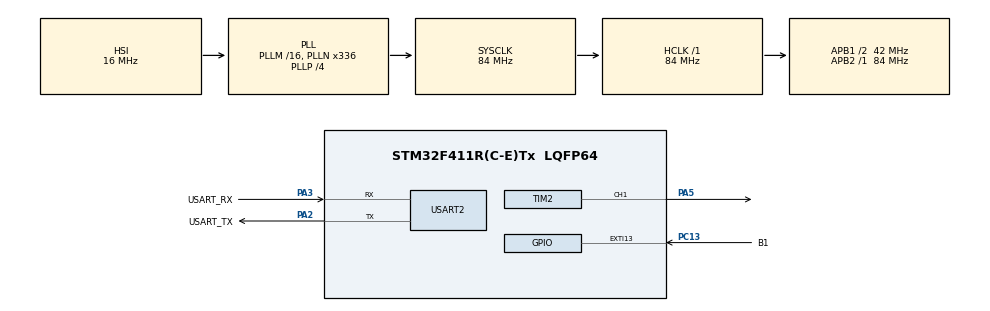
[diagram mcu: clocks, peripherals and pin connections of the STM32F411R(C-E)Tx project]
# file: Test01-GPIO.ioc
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Mcu.Family=STM32F4
Mcu.Name=STM32F411R(C-E)Tx
Mcu.Package=LQFP64
NVIC.EXTI15_10_IRQn=true\:0\:0\:false\:false\:true\:true\:true\:true
NVIC.PriorityGroup=NVIC_PRIORITYGROUP_0
NVIC.TIM3_IRQn=true\:0\:0\:false\:false\:true\:true\:true\:true
PA13.GPIO_Label=TMS
PA13.Mode=Serial_Wire
PA13.Signal=SYS_JTMS-SWDIO
PA14.GPIO_Label=TCK
PA14.Mode=Serial_Wire
PA14.Signal=SYS_JTCK-SWCLK
PA2.GPIO_Label=USART_TX
PA2.Mode=Asynchronous
PA2.Signal=USART2_TX
PA3.GPIO_Label=USART_RX
PA3.Mode=Asynchronous
PA3.Signal=USART2_RX
PA5.Signal=S_TIM2_CH1_ETR
PB3.GPIO_Label=SWO
PB3.Signal=SYS_JTDO-SWO
PC13-ANTI_TAMP.GPIO_Label=B1
PC13-ANTI_TAMP.GPIO_ModeDefaultEXTI=GPIO_MODE_IT_FALLING
PC13-ANTI_TAMP.Signal=GPXTI13
PC14-OSC32_IN.Mode=LSE-External-Oscillator
PC14-OSC32_IN.Signal=RCC_OSC32_IN
PC15-OSC32_OUT.Mode=LSE-External-Oscillator
PC15-OSC32_OUT.Signal=RCC_OSC32_OUT
PH0\ -\ OSC_IN.Mode=HSE-External-Clock-Source
PH0\ -\ OSC_IN.Signal=RCC_OSC_IN
PH1\ -\ OSC_OUT.Mode=HSE-External-Clock-Source
PH1\ -\ OSC_OUT.Signal=RCC_OSC_OUT
ProjectManager.HeapSize=0x200
ProjectManager.StackSize=0x400
ProjectManager.TargetToolchain=STM32CubeIDE
RCC.48MHZClocksFreq_Value=84000000
RCC.AHBFreq_Value=84000000
RCC.APB1CLKDivider=RCC_HCLK_DIV2
RCC.APB1Freq_Value=42000000
RCC.APB1TimFreq_Value=84000000
RCC.APB2Freq_Value=84000000
RCC.APB2TimFreq_Value=84000000
RCC.CortexFreq_Value=84000000
RCC.FLatency-AdvancedSettings=FLASH_LATENCY_2
RCC.HCLKFreq_Value=84000000
RCC.HSE_VALUE=8000000
RCC.HSI_VALUE=16000000
RCC.PLLN=336
RCC.PLLP=RCC_PLLP_DIV4
RCC.SYSCLKFreq_VALUE=84000000
RCC.SYSCLKSource=RCC_SYSCLKSOURCE_PLLCLK
RCC.VCOOutputFreq_Value=336000000
SH.S_TIM2_CH1_ETR.0=TIM2_CH1,PWM Generation1 CH1
TIM2.Channel-PWM\ Generation1\ CH1=TIM_CHANNEL_1
TIM2.Period=1000-1
TIM2.Prescaler=84-1
TIM3.Period=5000-1
TIM3.Prescaler=8400-1
TIM5.Prescaler=84-1
USART2.VirtualMode=VM_ASYNC
VP_TIM2_VS_ClockSourceINT.Mode=Internal
VP_TIM3_VS_ClockSourceINT.Mode=Internal
VP_TIM5_VS_ClockSourceINT.Mode=Internal
board=NUCLEO-F411RE

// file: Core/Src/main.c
/* USER CODE BEGIN Header */
/**
  ******************************************************************************
  * @file           : main.c
  * @brief          : Main program body
  ******************************************************************************
  * @attention
  *
  * Copyright (c) 2023 STMicroelectronics.
  * All rights reserved.
  *
  * This software is licensed under terms that can be found in the LICENSE file
  * in the root directory of this software component.
  * If no LICENSE file comes with this software, it is provided AS-IS.
  *
  ******************************************************************************
  */
/* USER CODE END Header */
#include "main.h"

TIM_HandleTypeDef htim2;
TIM_HandleTypeDef htim3;
TIM_HandleTypeDef htim5;

UART_HandleTypeDef huart2;

void SystemClock_Config(void);
static void MX_GPIO_Init(void);
static void MX_USART2_UART_Init(void);
static void MX_TIM3_Init(void);
static void MX_TIM5_Init(void);
static void MX_TIM2_Init(void);

/* USER CODE BEGIN 0 */
#define STEP 10
int val = 0;
int gap = 0;
//int flag = 1;
void HAL_GPIO_EXTI_Callback(uint16_t GPIO_Pin)
{
	//if (val == 0) val = 1; else val = 0;
	//val = !val;
	//val++; ->my method
	//if(val%5==0) val = 0;
	//if(val++>5) val = 0;
	//flag = 1;

	//val = HAL_GPIO_ReadPin(B1_GPIO_Port, B1_Pin);
	//if(val == 0) val == 1; else val = 0;
	//if (r == 0) val = 0; else val = 1;  //val and r are same

	if(val++> STEP) val = 0;
}
int cnt = 0;
void HAL_TIM_PeriodElapsedCallback(TIM_HandleTypeDef *htim)
{
	//HAL_GPIO_TogglePin(LD2_GPIO_Port, LD2_Pin);
	printf("\033[10;30HTimer3....%d\n", cnt++);
	//HAL_Delay(1000); //delay is longer than period
	//HAL_Delay(10);  //delay is not working well
	//myDelay(10000);
}

void myDelay(int interval)  // microsec delay, interval: microsec
{
	volatile int start = htim5.Instance->CNT;
	while(1)
	{
		//volatile int cur = htim5.Instance->CNT;
		//if(cur - start > interval) return;
		if(htim5.Instance->CNT > interval) return;
	}
}
int __io_putchar(int ch)
{
	HAL_UART_Transmit(&huart2, &ch, 1, 10);
	return ch;
}
//int __io_getchar(void)
/* USER CODE END 0 */

int main(void)
{

  /* MCU Configuration--------------------------------------------------------*/

  /* Reset of all peripherals, Initializes the Flash interface and the Systick. */
  HAL_Init();

  /* Configure the system clock */
  SystemClock_Config();

  /* Initialize all configured peripherals */
  MX_GPIO_Init();
  MX_USART2_UART_Init();
  MX_TIM3_Init();
  MX_TIM5_Init();
  MX_TIM2_Init();
  /* USER CODE BEGIN 2 */
  //int i = 0;
  printf("\033[1JProgram started....!\r\n");

  //HAL_TIM_Base_Start_IT(&htim3);
  //HAL_TIM_Base_Start(&htim5);
  gap = htim2.Instance->ARR / STEP;
  HAL_TIM_PWM_Start(&htim2, TIM_CHANNEL_1);
  /* USER CODE END 2 */

  /* Infinite loop */
  /* USER CODE BEGIN WHILE */
  int ccr = 0;
  while (1)
  {
    /* USER CODE END WHILE */

    /* USER CODE BEGIN 3 */

	  //int r = HAL_GPIO_ReadPin(B1_GPIO_Port, B1_Pin);
	  /*if (i != val)  //self code
	  {
		  for (i=0;i<val;i++)
		  {   //Button push = 0, Normal State = 1
			  HAL_GPIO_WritePin(LD2_GPIO_Port, LD2_Pin, 1);  //LED On
			  HAL_Delay(200);  //Delay 1s
			  HAL_GPIO_WritePin(LD2_GPIO_Port, LD2_Pin, 0);  //LED Off
			  HAL_Delay(200);
		  }
	  }*/
	  /*if (flag == 1){  //guide code
		  for (i=0;i<val;i++)
		  {   //Button push = 0, Normal State = 1
			  HAL_GPIO_WritePin(LD2_GPIO_Port, LD2_Pin, 1);  //LED On
			  HAL_Delay(200);  //Delay 1s
			  HAL_GPIO_WritePin(LD2_GPIO_Port, LD2_Pin, 0);  //LED Off
			  HAL_Delay(200);
			  flag = 0;
		  }
	  }*/

	  /*if (val % 2 == 1)   //my code
	  {
		  HAL_GPIO_WritePin(LD2_GPIO_Port, LD2_Pin, 1);
	  }
	  else if (val % 2 == 0)
	  {
		  HAL_GPIO_WritePin(LD2_GPIO_Port, LD2_Pin, 0);
	  }*/

	  //if(val==0) HAL_GPIO_WritePin(LD2_GPIO_Port, LD2_Pin, 1);  //guide code
	  /*if(val==0) {
		  HAL_GPIO_TogglePin(LD2_GPIO_Port, LD2_Pin);
		  HAL_Delay(200);
	  }
	  else if(val==1) HAL_GPIO_WritePin(LD2_GPIO_Port, LD2_Pin, 0);*/

	  htim2.Instance->CCR1 = val * gap;
	  //if(ccr > htim2.Instance->ARR) ccr = 0;
	  //myDelay(10000);

  }
  /* USER CODE END 3 */
}

void SystemClock_Config(void)
{
  RCC_OscInitTypeDef RCC_OscInitStruct = {0};
  RCC_ClkInitTypeDef RCC_ClkInitStruct = {0};

  /** Configure the main internal regulator output voltage
  */
  __HAL_RCC_PWR_CLK_ENABLE();
  __HAL_PWR_VOLTAGESCALING_CONFIG(PWR_REGULATOR_VOLTAGE_SCALE1);

  /** Initializes the RCC Oscillators according to the specified parameters
  * in the RCC_OscInitTypeDef structure.
  */
  RCC_OscInitStruct.OscillatorType = RCC_OSCILLATORTYPE_HSI;
  RCC_OscInitStruct.HSIState = RCC_HSI_ON;
  RCC_OscInitStruct.HSICalibrationValue = RCC_HSICALIBRATION_DEFAULT;
  RCC_OscInitStruct.PLL.PLLState = RCC_PLL_ON;
  RCC_OscInitStruct.PLL.PLLSource = RCC_PLLSOURCE_HSI;
  RCC_OscInitStruct.PLL.PLLM = 16;
  RCC_OscInitStruct.PLL.PLLN = 336;
  RCC_OscInitStruct.PLL.PLLP = RCC_PLLP_DIV4;
  RCC_OscInitStruct.PLL.PLLQ = 4;
  if (HAL_RCC_OscConfig(&RCC_OscInitStruct) != HAL_OK)
  {
    Error_Handler();
  }

  /** Initializes the CPU, AHB and APB buses clocks
  */
  RCC_ClkInitStruct.ClockType = RCC_CLOCKTYPE_HCLK|RCC_CLOCKTYPE_SYSCLK
                              |RCC_CLOCKTYPE_PCLK1|RCC_CLOCKTYPE_PCLK2;
  RCC_ClkInitStruct.SYSCLKSource = RCC_SYSCLKSOURCE_PLLCLK;
  RCC_ClkInitStruct.AHBCLKDivider = RCC_SYSCLK_DIV1;
  RCC_ClkInitStruct.APB1CLKDivider = RCC_HCLK_DIV2;
  RCC_ClkInitStruct.APB2CLKDivider = RCC_HCLK_DIV1;

  if (HAL_RCC_ClockConfig(&RCC_ClkInitStruct, FLASH_LATENCY_2) != HAL_OK)
  {
    Error_Handler();
  }
}

static void MX_TIM2_Init(void)
{

  TIM_ClockConfigTypeDef sClockSourceConfig = {0};
  TIM_MasterConfigTypeDef sMasterConfig = {0};
  TIM_OC_InitTypeDef sConfigOC = {0};

  htim2.Instance = TIM2;
  htim2.Init.Prescaler = 84-1;
  htim2.Init.CounterMode = TIM_COUNTERMODE_UP;
  htim2.Init.Period = 1000-1;
  htim2.Init.ClockDivision = TIM_CLOCKDIVISION_DIV1;
  htim2.Init.AutoReloadPreload = TIM_AUTORELOAD_PRELOAD_DISABLE;
  if (HAL_TIM_Base_Init(&htim2) != HAL_OK)
  {
    Error_Handler();
  }
  sClockSourceConfig.ClockSource = TIM_CLOCKSOURCE_INTERNAL;
  if (HAL_TIM_ConfigClockSource(&htim2, &sClockSourceConfig) != HAL_OK)
  {
    Error_Handler();
  }
  if (HAL_TIM_PWM_Init(&htim2) != HAL_OK)
  {
    Error_Handler();
  }
  sMasterConfig.MasterOutputTrigger = TIM_TRGO_RESET;
  sMasterConfig.MasterSlaveMode = TIM_MASTERSLAVEMODE_DISABLE;
  if (HAL_TIMEx_MasterConfigSynchronization(&htim2, &sMasterConfig) != HAL_OK)
  {
    Error_Handler();
  }
  sConfigOC.OCMode = TIM_OCMODE_PWM1;
  sConfigOC.Pulse = 0;
  sConfigOC.OCPolarity = TIM_OCPOLARITY_HIGH;
  sConfigOC.OCFastMode = TIM_OCFAST_DISABLE;
  if (HAL_TIM_PWM_ConfigChannel(&htim2, &sConfigOC, TIM_CHANNEL_1) != HAL_OK)
  {
    Error_Handler();
  }
  HAL_TIM_MspPostInit(&htim2);

}

static void MX_TIM3_Init(void)
{

  TIM_ClockConfigTypeDef sClockSourceConfig = {0};
  TIM_MasterConfigTypeDef sMasterConfig = {0};

  htim3.Instance = TIM3;
  htim3.Init.Prescaler = 8400-1;
  htim3.Init.CounterMode = TIM_COUNTERMODE_UP;
  htim3.Init.Period = 5000-1;
  htim3.Init.ClockDivision = TIM_CLOCKDIVISION_DIV1;
  htim3.Init.AutoReloadPreload = TIM_AUTORELOAD_PRELOAD_DISABLE;
  if (HAL_TIM_Base_Init(&htim3) != HAL_OK)
  {
    Error_Handler();
  }
  sClockSourceConfig.ClockSource = TIM_CLOCKSOURCE_INTERNAL;
  if (HAL_TIM_ConfigClockSource(&htim3, &sClockSourceConfig) != HAL_OK)
  {
    Error_Handler();
  }
  sMasterConfig.MasterOutputTrigger = TIM_TRGO_RESET;
  sMasterConfig.MasterSlaveMode = TIM_MASTERSLAVEMODE_DISABLE;
  if (HAL_TIMEx_MasterConfigSynchronization(&htim3, &sMasterConfig) != HAL_OK)
  {
    Error_Handler();
  }

}

static void MX_TIM5_Init(void)
{

  TIM_ClockConfigTypeDef sClockSourceConfig = {0};
  TIM_MasterConfigTypeDef sMasterConfig = {0};

  htim5.Instance = TIM5;
  htim5.Init.Prescaler = 84-1;
  htim5.Init.CounterMode = TIM_COUNTERMODE_UP;
  htim5.Init.Period = 4294967295;
  htim5.Init.ClockDivision = TIM_CLOCKDIVISION_DIV1;
  htim5.Init.AutoReloadPreload = TIM_AUTORELOAD_PRELOAD_DISABLE;
  if (HAL_TIM_Base_Init(&htim5) != HAL_OK)
  {
    Error_Handler();
  }
  sClockSourceConfig.ClockSource = TIM_CLOCKSOURCE_INTERNAL;
  if (HAL_TIM_ConfigClockSource(&htim5, &sClockSourceConfig) != HAL_OK)
  {
    Error_Handler();
  }
  sMasterConfig.MasterOutputTrigger = TIM_TRGO_RESET;
  sMasterConfig.MasterSlaveMode = TIM_MASTERSLAVEMODE_DISABLE;
  if (HAL_TIMEx_MasterConfigSynchronization(&htim5, &sMasterConfig) != HAL_OK)
  {
    Error_Handler();
  }

}

static void MX_USART2_UART_Init(void)
{

  huart2.Instance = USART2;
  huart2.Init.BaudRate = 115200;
  huart2.Init.WordLength = UART_WORDLENGTH_8B;
  huart2.Init.StopBits = UART_STOPBITS_1;
  huart2.Init.Parity = UART_PARITY_NONE;
  huart2.Init.Mode = UART_MODE_TX_RX;
  huart2.Init.HwFlowCtl = UART_HWCONTROL_NONE;
  huart2.Init.OverSampling = UART_OVERSAMPLING_16;
  if (HAL_UART_Init(&huart2) != HAL_OK)
  {
    Error_Handler();
  }

}

static void MX_GPIO_Init(void)
{
  GPIO_InitTypeDef GPIO_InitStruct = {0};

  /* GPIO Ports Clock Enable */
  __HAL_RCC_GPIOC_CLK_ENABLE();
  __HAL_RCC_GPIOH_CLK_ENABLE();
  __HAL_RCC_GPIOA_CLK_ENABLE();
  __HAL_RCC_GPIOB_CLK_ENABLE();

  /*Configure GPIO pin : B1_Pin */
  GPIO_InitStruct.Pin = B1_Pin;
  GPIO_InitStruct.Mode = GPIO_MODE_IT_FALLING;
  GPIO_InitStruct.Pull = GPIO_NOPULL;
  HAL_GPIO_Init(B1_GPIO_Port, &GPIO_InitStruct);

  /* EXTI interrupt init*/
  HAL_NVIC_SetPriority(EXTI15_10_IRQn, 0, 0);
  HAL_NVIC_EnableIRQ(EXTI15_10_IRQn);

}

void Error_Handler(void)
{
  __disable_irq();
  while (1)
  {
  }
}
